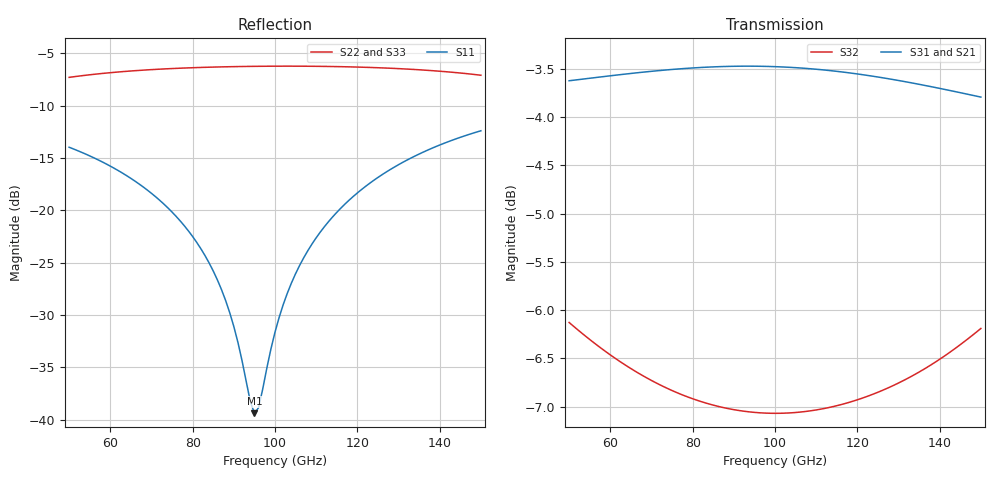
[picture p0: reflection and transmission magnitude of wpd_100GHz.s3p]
#  GHZ S DB R 50
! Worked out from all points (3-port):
!   101 points, 50 GHz to 150 GHz, reference 50 ohm
!   strongest paths, dB at 50 GHz, 75 GHz, 100 GHz, 125 GHz, 150 GHz:
!     S31: -3.6, -3.5, -3.5, -3.6, -3.8
!     S21: -3.6, -3.5, -3.5, -3.6, -3.8
!     S32: -6.1, -6.8, -7.1, -6.9, -6.2
!   lowest |S11| = -39.4 dB at 95 GHz (marker M1), VSWR 1.02, Z = 51.1 + j0.128 ohm
!   |S11| at or under -10 dB: start of sweep to end of sweep
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50  -13.97 131.0  -3.63 -44.6  -3.62 -44.6
    -3.63 -44.6  -7.29 48.6  -6.13 -98.3
    -3.62 -44.6  -6.13 -98.3  -7.30 48.6
68  -17.76 112.5  -3.54 -61.2  -3.54 -61.2
    -3.54 -61.2  -6.60 26.4  -6.68 -128.6
    -3.54 -61.2  -6.68 -128.6  -6.62 26.3
81  -23.06 96.2  -3.50 -73.4  -3.49 -73.4
    -3.50 -73.4  -6.35 13.0  -6.93 -149.7
    -3.49 -73.4  -6.93 -149.7  -6.37 12.9
88  -28.60 81.5  -3.49 -80.0  -3.48 -80.1
    -3.49 -80.0  -6.28 6.3  -7.01 -161.0
    -3.48 -80.1  -7.01 -161.0  -6.30 6.2
95  -39.40 6.7  -3.49 -86.7  -3.47 -86.7
    -3.49 -86.7  -6.23 -0.2  -7.06 -172.3
    -3.47 -86.7  -7.06 -172.3  -6.26 -0.3
96  -38.86 -20.0  -3.49 -87.7  -3.47 -87.7
    -3.49 -87.7  -6.23 -1.1  -7.06 -173.9
    -3.47 -87.7  -7.06 -173.9  -6.26 -1.2
100  -31.64 -69.2  -3.49 -91.5  -3.48 -91.5
     -3.49 -91.5  -6.22 -4.8  -7.07 179.7
     -3.48 -91.5  -7.07 179.7  -6.25 -4.9
107  -24.51 -89.7  -3.51 -98.2  -3.49 -98.2
     -3.51 -98.2  -6.22 -11.2  -7.05 168.4
     -3.49 -98.2  -7.05 168.4  -6.25 -11.3
117  -19.39 -103.8  -3.55 -107.7  -3.54 -107.7
     -3.55 -107.7  -6.27 -20.5  -6.97 152.2
     -3.54 -107.7  -6.97 152.2  -6.31 -20.7
150  -12.39 -137.8  -3.81 -138.3  -3.79 -138.5
     -3.81 -138.3  -7.08 -57.5  -6.19 96.8
     -3.79 -138.5  -6.19 96.8  -7.12 -57.8
